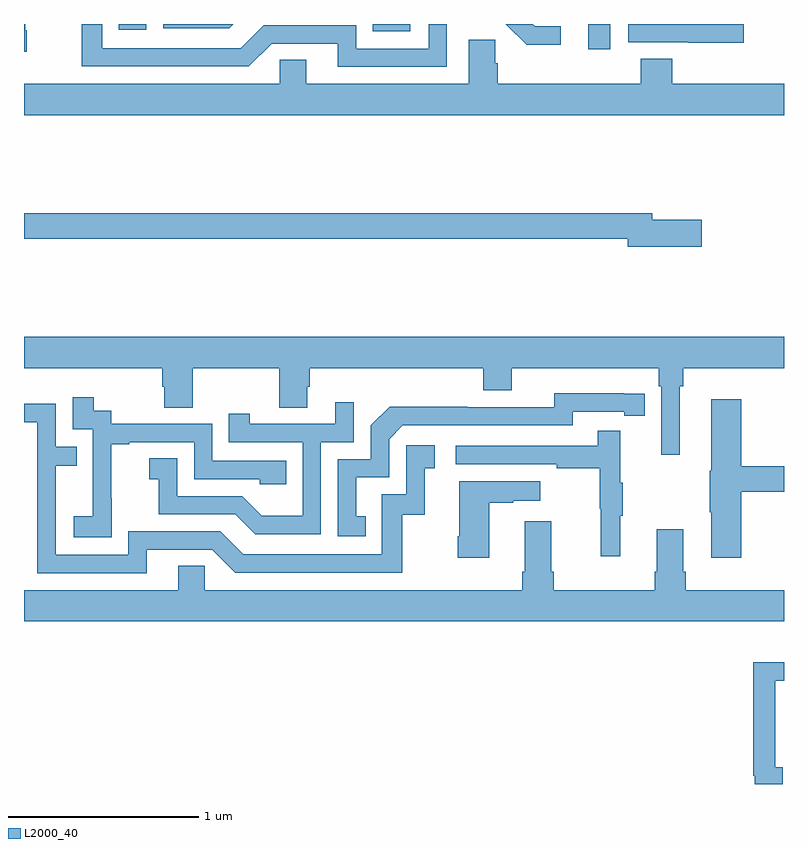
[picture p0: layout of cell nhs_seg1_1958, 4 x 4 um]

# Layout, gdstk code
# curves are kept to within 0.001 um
import gdstk
lib = gdstk.Library(unit=1e-6, precision=1e-09)
def R(c, l, rs):  # rectangles x0, y0, x1, y1
    for r in rs: c.add(gdstk.rectangle(r[:2], r[2:], *l))
def P(c, l, *ps):  # polygons
    for p in ps: c.add(gdstk.Polygon(p, *l))
L2000_40 = (2000, 40)

nhs_seg1_1958 = lib.new_cell('nhs_seg1_1958')
R(nhs_seg1_1958, L2000_40, [(219.971,564.066,220.086,564.199), (218.836,564.161,219.034,564.199), (217.498,564.168,217.644,564.199)])
P(nhs_seg1_1958, L2000_40, [(219.225,564.199),(219.129,564.199),(219.129,564.069),(218.748,564.069),(218.748,564.192),(218.262,564.192),(218.142,564.072),(217.413,564.072),(217.413,564.199),(217.305,564.199),(217.305,563.976),(218.184,563.976),(218.304,564.096),(218.651,564.096),(218.651,563.973),(219.225,563.973)],
  [(218.102,564.199),(217.734,564.199),(217.734,564.177),(218.08,564.177)],
  [(220.787,564.199),(220.671,564.199),(220.671,564.198),(220.275,564.198),(220.275,564.199),(220.179,564.199),(220.179,564.102),(220.495,564.102),(220.495,564.101),(220.787,564.101)],
  [(219.826,564.186),(219.691,564.186),(219.678,564.199),(219.536,564.199),(219.647,564.089),(219.826,564.089)],
  [(217.014,564.166),(217.006,564.166),(217.006,564.199),(217,564.199),(217,564.054),(217.014,564.054)],
  [(221,563.884),(220.412,563.884),(220.412,564.017),(220.247,564.017),(220.247,563.884),(219.494,563.884),(219.494,563.993),(219.48,563.993),(219.48,564.116),(219.341,564.116),(219.341,563.884),(218.485,563.884),(218.485,564.011),(218.346,564.011),(218.346,563.884),(217,563.884),(217,563.72),(221,563.72)],
  [(220.567,563.168),(220.306,563.168),(220.306,563.204),(217,563.204),(217,563.068),(220.178,563.068),(220.178,563.026),(220.567,563.026)],
  [(220.45,562.292),(220.469,562.292),(220.469,562.388),(221,562.388),(221,562.552),(217,562.552),(217,562.388),(217.727,562.388),(217.727,562.29),(217.739,562.29),(217.739,562.18),(217.887,562.18),(217.887,562.388),(218.344,562.388),(218.344,562.18),(218.491,562.18),(218.491,562.29),(218.504,562.29),(218.504,562.388),(219.416,562.388),(219.416,562.271),(219.568,562.271),(219.568,562.388),(220.34,562.388),(220.34,562.292),(220.353,562.292),(220.353,561.933),(220.45,561.933)],
  [(218.798,561.609),(218.749,561.609),(218.749,561.813),(218.922,561.813),(218.922,562.014),(218.994,562.086),(219.888,562.086),(219.888,562.158),(220.16,562.158),(220.16,562.138),(220.268,562.138),(220.268,562.254),(219.792,562.255),(219.792,562.182),(219.332,562.182),(219.332,562.184),(218.924,562.184),(218.826,562.086),(218.826,561.909),(218.652,561.909),(218.652,561.504),(218.798,561.504)],
  [(217.461,561.703),(217.46,561.703),(217.46,561.987),(217.555,561.987),(217.555,561.999),(217.896,561.999),(217.896,561.804),(218.241,561.804),(218.241,561.777),(218.381,561.777),(218.381,561.9),(217.992,561.9),(217.992,562.095),(217.458,562.095),(217.458,562.164),(217.366,562.164),(217.366,562.234),(217.257,562.234),(217.257,562.065),(217.362,562.065),(217.362,561.836),(217.361,561.836),(217.361,561.607),(217.263,561.607),(217.263,561.497),(217.461,561.497)],
  [(220.775,561.736),(221,561.736),(221,561.872),(220.775,561.872),(220.775,562.225),(220.616,562.225),(220.616,561.849),(220.609,561.849),(220.609,561.628),(220.616,561.628),(220.616,561.39),(220.775,561.39)],
  [(218.562,561.999),(218.736,561.999),(218.736,562.207),(218.639,562.207),(218.639,562.095),(218.188,562.095),(218.188,562.147),(218.077,562.147),(218.077,561.999),(218.466,561.999),(218.466,561.61),(218.252,561.61),(218.148,561.714),(217.806,561.714),(217.806,561.913),(217.659,561.913),(217.659,561.803),(217.708,561.803),(217.708,561.618),(218.111,561.618),(218.216,561.513),(218.562,561.513)],
  [(217.645,561.432),(217.992,561.432),(218.112,561.312),(218.992,561.312),(218.992,561.615),(219.11,561.615),(219.11,561.861),(219.163,561.861),(219.163,561.982),(219.012,561.982),(219.012,561.723),(218.883,561.723),(218.883,561.408),(218.154,561.408),(218.034,561.528),(217.548,561.528),(217.548,561.405),(217.167,561.405),(217.167,561.874),(217.277,561.874),(217.277,561.975),(217.167,561.975),(217.167,562.2),(217,562.2),(217,562.104),(217.071,562.104),(217.071,561.309),(217.645,561.309)],
  [(220.139,561.611),(220.15,561.611),(220.15,561.785),(220.139,561.785),(220.139,562.057),(220.021,562.057),(220.021,561.978),(219.273,561.978),(219.273,561.882),(219.805,561.882),(219.805,561.862),(220.029,561.862),(220.029,561.648),(220.036,561.648),(220.036,561.399),(220.139,561.399)],
  [(219.448,561.679),(219.575,561.679),(219.575,561.689),(219.718,561.689),(219.718,561.793),(219.29,561.793),(219.29,561.502),(219.283,561.502),(219.283,561.39),(219.448,561.39)],
  [(221,561.22),(220.484,561.22),(220.484,561.316),(220.471,561.316),(220.471,561.541),(220.331,561.541),(220.331,561.316),(220.319,561.316),(220.319,561.22),(219.788,561.22),(219.788,561.316),(219.775,561.316),(219.775,561.583),(219.635,561.583),(219.635,561.316),(219.623,561.316),(219.623,561.22),(217.95,561.22),(217.95,561.347),(217.811,561.347),(217.811,561.22),(217,561.22),(217,561.056),(221,561.056)],
  [(220.993,560.286),(220.953,560.286),(220.953,560.742),(221,560.742),(221,560.84),(220.837,560.84),(220.837,560.242),(220.845,560.242),(220.845,560.199),(220.993,560.199)])

lib.write_gds('nhs_seg1_1958.gds')
